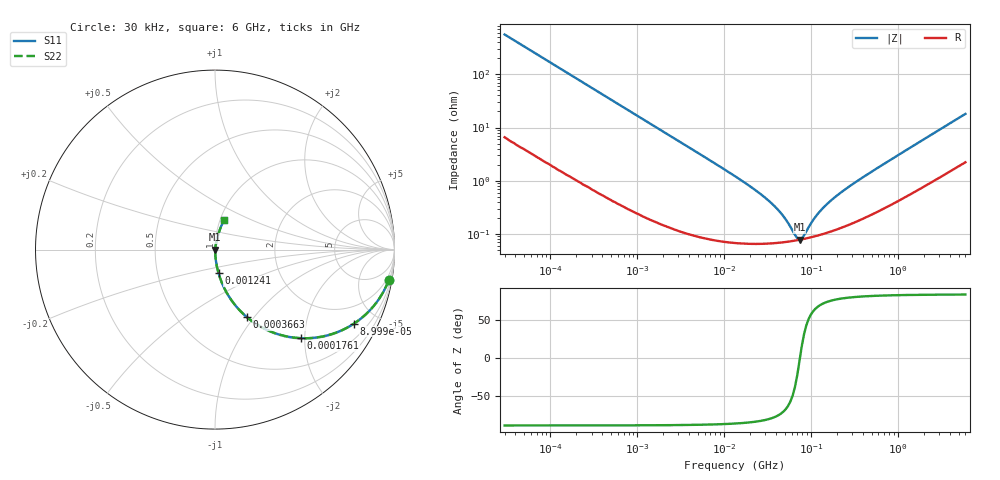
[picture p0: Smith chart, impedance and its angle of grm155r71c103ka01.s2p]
!Murata Part Number:GRM155R71C103KA01
!These Parameters are Measured in Series Mode Connection
!  o--ll--o
!Port1  Port2
!  o------o
!Operation Temp=25[C], DC Bias Voltage=0[V]
!Freq. Start=30[kHz] Stop=6[GHz], 201[Steps]
# Hz S DB R 50
!Freq.[Hz] MagS11[dB] PhaseS11[DEG] MagS21[dB] PhaseS21[DEG] MagS12[dB] PhaseS12[DEG] MagS22[dB] PhaseS22[DEG]
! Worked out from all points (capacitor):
!   201 points, 30 kHz to 6 GHz, reference 50 ohm
!   read as one part in series: C = 9.47 nF near 31.89 kHz
!   lowest |Z| = 77.8 mohm at 74.09 MHz (marker M1)
!   series resonance near 75.09 MHz, so ESL is about 470 pH
!   S11 on the Smith chart (normalised r, x): 30 kHz: 1, -11; 89.99 kHz: 1.04, -3.74; 176.1 kHz: 1.02, -1.91; 366.3 kHz: 1.01, -0.92; 1.241 MHz: 1.00, -0.27; 6 GHz: 1.04, +0.36
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30000  -0.15 -10.1  -15.13 79.2  -15.13 79.2  -0.15 -10.1
55230  -0.47 -18.1  -10.15 71.2  -10.15 71.2  -0.47 -18.1
89994  -1.14 -28.0  -6.57 61.3  -6.57 61.3  -1.14 -28.0
176105  -3.27 -46.0  -2.87 43.4  -2.87 43.4  -3.27 -46.0
238944  -4.85 -54.4  -1.80 34.9  -1.80 34.9  -4.85 -54.4
366296  -7.63 -64.8  -0.87 24.5  -0.87 24.5  -7.63 -64.8
634423  -11.86 -74.4  -0.32 14.8  -0.32 14.8  -11.86 -74.4
1241468  -17.46 -81.4  -0.10 7.7  -0.10 7.7  -17.46 -81.4
1790467  -20.60 -83.7  -0.05 5.4  -0.05 5.4  -20.60 -83.7
1.341641e7  -38.31 -86.1  -0.01 0.7  -0.01 0.7  -38.31 -86.1
2.469948e7  -44.29 -83.6  -0.01 0.3  -0.01 0.3  -44.29 -83.6
3.786377e7  -49.43 -78.4  -0.01 0.2  -0.01 0.2  -49.43 -78.4
4.833307e7  -53.35 -71.0  -0.01 0.1  -0.01 0.1  -53.35 -71.0
6.970682e7  -61.62 -23.6  -0.01 0.0  -0.01 0.0  -61.62 -23.6
7.409356e7  -62.19 -4.3  -0.01 0.0  -0.01 0.0  -62.19 -4.3
8.371258e7  -60.51 31.2  -0.01 -0.0  -0.01 -0.0  -60.51 31.2
1.068591e8  -54.70 61.2  -0.01 -0.1  -0.01 -0.1  -54.70 61.2
1.449897e8  -49.57 72.0  -0.01 -0.2  -0.01 -0.2  -49.57 72.0
2.091067e8  -45.08 76.8  -0.01 -0.3  -0.01 -0.3  -45.08 76.8
8.007212e8  -32.45 80.5  -0.03 -1.4  -0.03 -1.4  -32.45 80.5
2.553167e9  -22.41 78.4  -0.11 -4.3  -0.11 -4.3  -22.41 78.4
6e9  -15.20 73.0  -0.32 -9.9  -0.32 -9.9  -15.20 73.0
